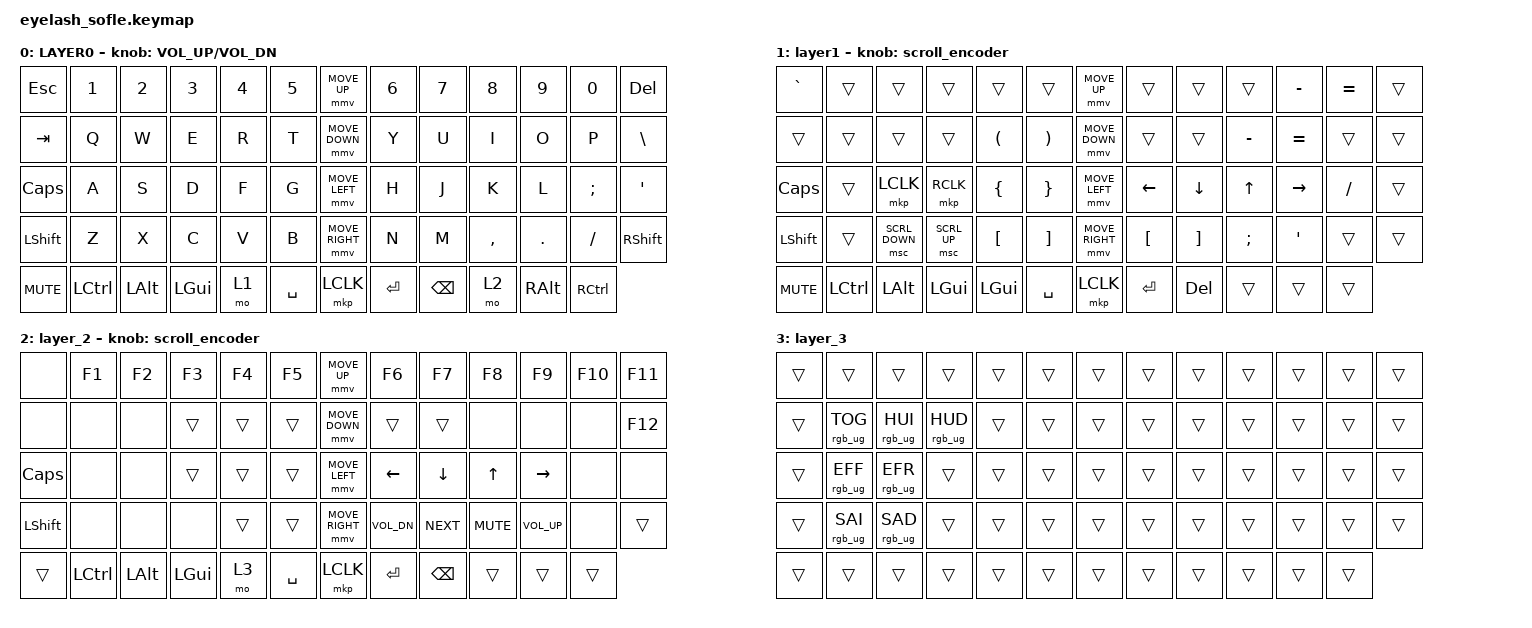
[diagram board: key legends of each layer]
#include <dt-bindings/zmk/mouse.h>
#include <input/processors.dtsi>
#include <behaviors.dtsi>
#include <dt-bindings/zmk/keys.h>
#include <dt-bindings/zmk/pointing.h>
#include <dt-bindings/zmk/pointing.h>
#include <dt-bindings/zmk/pointing.h>
#include <dt-bindings/zmk/rgb.h>

/*

   &mmv_input_listener {
       input-processors = <&zip_xy_scaler 2 1>;
   };

   &msc_input_listener {
       input-processors = <&zip_xy_scaler 2 1>;
   };

 */

#define ZMK_MOUSE_DEFAULT_MOVE_VAL 1200  // 600
#define ZMK_MOUSE_DEFAULT_SCRL_VAL 20    // 10

/ {
    behaviors {
        mmv {
            acceleration-exponent = <1>;      // 1
            time-to-max-speed-ms = <900>;    // 40
            delay-ms = <0>;                   // 0
        };

        msc {
            acceleration-exponent = <1>;      // 0
            time-to-max-speed-ms = <400>;      // 500
            delay-ms = <0>;                   //   10
        };
    };

    scroll_encoder: scroll_encoder {
        compatible = "zmk,behavior-sensor-rotate";
        #sensor-binding-cells = <0>;
        bindings = <&msc SCRL_DOWN>, <&msc SCRL_UP>;

        tap-ms = <30>;
    };

    keymap {
        compatible = "zmk,keymap";

        layer0 {
            bindings = <
&kp ESC     &kp N1     &kp N2    &kp N3    &kp N4  &kp N5       &mmv MOVE_UP     &kp N6     &kp N7         &kp N8     &kp N9    &kp N0             &kp DELETE
&kp TAB     &kp Q      &kp W     &kp E     &kp R   &kp T        &mmv MOVE_DOWN   &kp Y      &kp U          &kp I      &kp O     &kp P              &kp BSLH
&kp CAPS    &kp A      &kp S     &kp D     &kp F   &kp G        &mmv MOVE_LEFT   &kp H      &kp J          &kp K      &kp L     &kp SEMI           &kp APOS
&kp LSHFT   &kp Z      &kp X     &kp C     &kp V   &kp B        &mmv MOVE_RIGHT  &kp N      &kp M          &kp COMMA  &kp DOT   &kp FSLH           &kp RSHIFT
&kp C_MUTE  &kp LCTRL  &kp LALT  &kp LGUI  &mo 1   &kp SPACE    &mkp LCLK        &kp ENTER  &kp BACKSPACE  &mo 2      &kp RALT  &kp RIGHT_CONTROL
            >;

            sensor-bindings = <&inc_dec_kp C_VOLUME_UP C_VOL_DN>;
            display-name = "LAYER0";
        };

        layer_1 {
            bindings = <
&kp GRAVE     &trans     &trans          &trans        &trans                &trans                   &mmv MOVE_UP     &trans            &trans             &trans     &kp MINUS  &kp EQUAL  &trans
&trans        &trans     &trans          &trans        &kp LEFT_PARENTHESIS  &kp RIGHT_PARENTHESIS    &mmv MOVE_DOWN   &trans            &trans             &kp MINUS  &kp EQUAL  &trans     &trans
&kp CAPSLOCK  &trans     &mkp LCLK       &mkp RCLK     &kp LEFT_BRACE        &kp RIGHT_BRACE          &mmv MOVE_LEFT   &kp LEFT          &kp DOWN           &kp UP     &kp RIGHT  &kp SLASH  &trans
&kp LSHIFT    &trans     &msc SCRL_DOWN  &msc SCRL_UP  &kp LEFT_BRACKET      &kp RIGHT_BRACKET        &mmv MOVE_RIGHT  &kp LEFT_BRACKET  &kp RIGHT_BRACKET  &kp SEMI   &kp APOS   &trans     &trans
&kp C_MUTE    &kp LCTRL  &kp LALT        &kp LGUI      &kp LGUI              &kp SPACE                &mkp LCLK        &kp ENTER         &kp DELETE         &trans     &trans     &trans
            >;

            display-name = "layer1";
            sensor-bindings = <&scroll_encoder>;
        };

        layer_2 {
            bindings = <
&none         &kp F1     &kp F2    &kp F3    &kp F4  &kp F5       &mmv MOVE_UP     &kp F6        &kp F7          &kp F8        &kp F9           &kp F10  &kp F11
&none         &none      &none     &trans    &trans  &trans       &mmv MOVE_DOWN   &trans        &trans          &none         &none            &none    &kp F12
&kp CAPSLOCK  &none      &none     &trans    &trans  &trans       &mmv MOVE_LEFT   &kp LEFT      &kp DOWN_ARROW  &kp UP_ARROW  &kp RIGHT        &none    &none
&kp LSHFT     &none      &none     &none     &trans  &trans       &mmv MOVE_RIGHT  &kp C_VOL_DN  &kp C_NEXT      &kp K_MUTE    &kp C_VOLUME_UP  &none    &trans
&trans        &kp LCTRL  &kp LALT  &kp LGUI  &mo 3   &kp SPACE    &mkp LCLK        &kp ENTER     &kp BACKSPACE   &trans        &trans           &trans
            >;

            sensor-bindings = <&scroll_encoder>;
        };

        layer_3 {
            bindings = <
&trans  &trans           &trans           &trans           &trans  &trans    &trans  &trans  &trans  &trans  &trans  &trans  &trans
&trans  &rgb_ug RGB_TOG  &rgb_ug RGB_HUI  &rgb_ug RGB_HUD  &trans  &trans    &trans  &trans  &trans  &trans  &trans  &trans  &trans
&trans  &rgb_ug RGB_EFF  &rgb_ug RGB_EFR  &trans           &trans  &trans    &trans  &trans  &trans  &trans  &trans  &trans  &trans
&trans  &rgb_ug RGB_SAI  &rgb_ug RGB_SAD  &trans           &trans  &trans    &trans  &trans  &trans  &trans  &trans  &trans  &trans
&trans  &trans           &trans           &trans           &trans  &trans    &trans  &trans  &trans  &trans  &trans  &trans
            >;
        };
    };
};
